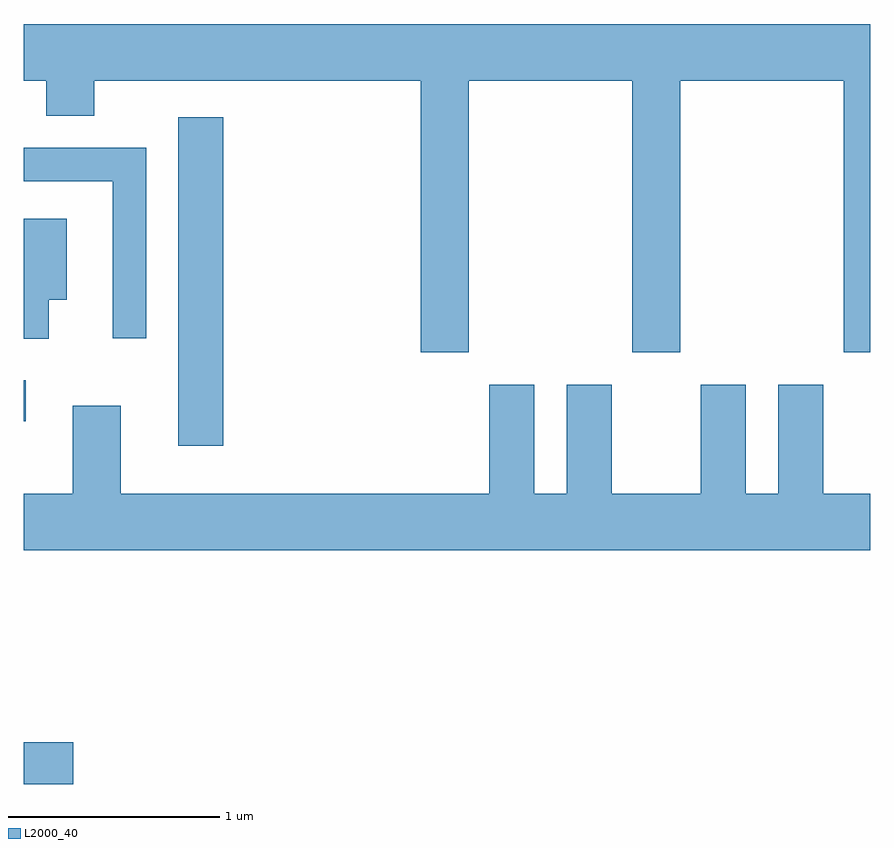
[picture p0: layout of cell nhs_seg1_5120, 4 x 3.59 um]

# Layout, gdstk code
import gdstk
lib = gdstk.Library(unit=1e-6, precision=1e-09)
def R(c, l, rs):  # rectangles x0, y0, x1, y1
    for r in rs: c.add(gdstk.rectangle(r[:2], r[2:], *l))
def P(c, l, *ps):  # polygons
    for p in ps: c.add(gdstk.Polygon(p, *l))
L2000_40 = (2000, 40)

nhs_seg1_5120 = lib.new_cell('nhs_seg1_5120')
R(nhs_seg1_5120, L2000_40, [(339.611,871.831,339.844,872.029), (340.341,873.431,340.554,874.984), (339.611,873.546,339.619,873.739)])
P(nhs_seg1_5120, L2000_40, [(341.714,875.156),(342.486,875.156),(342.486,873.871),(342.714,873.871),(342.714,875.156),(343.486,875.156),(343.486,873.871),(343.611,873.871),(343.611,875.424),(339.611,875.424),(339.611,875.156),(339.716,875.156),(339.716,874.991),(339.944,874.991),(339.944,875.156),(341.486,875.156),(341.486,873.871),(341.714,873.871)],
  [(340.189,874.839),(339.611,874.839),(339.611,874.681),(340.031,874.681),(340.031,873.938),(340.189,873.938)],
  [(339.729,874.121),(339.814,874.121),(339.814,874.504),(339.611,874.504),(339.611,873.936),(339.729,873.936)],
  [(339.841,873.619),(339.841,873.204),(339.611,873.204),(339.611,872.936),(343.611,872.936),(343.611,873.204),(343.389,873.204),(343.389,873.719),(343.176,873.719),(343.176,873.204),(343.024,873.204),(343.024,873.719),(342.811,873.719),(342.811,873.204),(342.389,873.204),(342.389,873.719),(342.176,873.719),(342.176,873.204),(342.024,873.204),(342.024,873.719),(341.811,873.719),(341.811,873.204),(340.069,873.204),(340.069,873.619)])

lib.write_gds('nhs_seg1_5120.gds')
